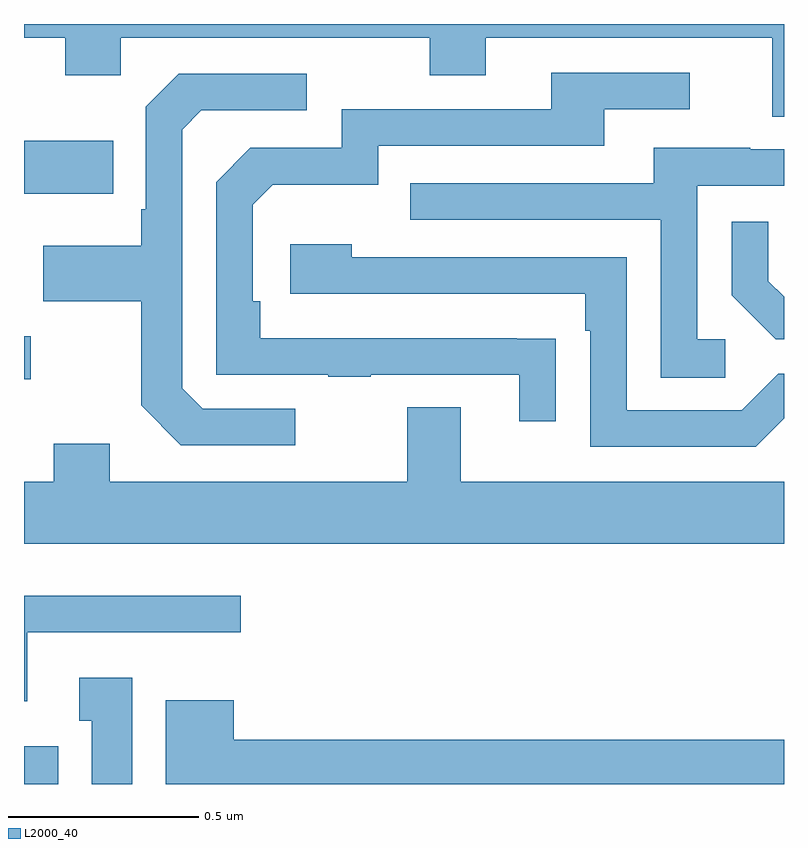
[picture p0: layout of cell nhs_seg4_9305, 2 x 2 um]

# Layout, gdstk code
import gdstk
lib = gdstk.Library(unit=1e-6, precision=1e-09)
def R(c, l, rs):  # rectangles x0, y0, x1, y1
    for r in rs: c.add(gdstk.rectangle(r[:2], r[2:], *l))
def P(c, l, *ps):  # polygons
    for p in ps: c.add(gdstk.Polygon(p, *l))
L2000_40 = (2000, 40)

nhs_seg4_9305 = lib.new_cell('nhs_seg4_9305')
R(nhs_seg4_9305, L2000_40, [(226,750.9,226.09,751), (226,751.965,226.018,752.078), (226,752.453,226.235,752.593)])
P(nhs_seg4_9305, L2000_40, [(228,752.9),(226,752.9),(226,752.864),(226.108,752.864),(226.108,752.765),(226.254,752.765),(226.254,752.864),(227.068,752.864),(227.068,752.765),(227.215,752.765),(227.215,752.864),(227.969,752.864),(227.969,752.656),(228,752.656)],
  [(227.399,752.072),(227.297,752.072),(227.297,752.073),(226.622,752.073),(226.622,752.17),(226.602,752.17),(226.602,752.424),(226.655,752.477),(226.932,752.477),(226.932,752.58),(227.527,752.58),(227.527,752.676),(227.752,752.676),(227.752,752.772),(227.387,752.772),(227.387,752.676),(226.836,752.676),(226.836,752.574),(226.596,752.574),(226.506,752.484),(226.506,751.977),(226.801,751.977),(226.801,751.972),(226.913,751.972),(226.913,751.977),(227.303,751.977),(227.303,751.854),(227.399,751.854)],
  [(226.714,751.887),(226.47,751.887),(226.416,751.941),(226.416,752.622),(226.467,752.673),(226.744,752.673),(226.744,752.769),(226.407,752.769),(226.32,752.682),(226.32,752.413),(226.308,752.413),(226.308,752.317),(226.051,752.317),(226.051,752.17),(226.308,752.17),(226.308,751.897),(226.413,751.791),(226.714,751.791)],
  [(227.845,752.07),(227.772,752.07),(227.772,752.475),(228,752.475),(228,752.571),(227.911,752.571),(227.911,752.575),(227.657,752.575),(227.657,752.481),(227.017,752.481),(227.017,752.385),(227.676,752.385),(227.676,751.969),(227.845,751.969)],
  [(228,752.182),(227.959,752.223),(227.959,752.38),(227.862,752.38),(227.862,752.186),(227.978,752.07),(228,752.07)],
  [(228,751.863),(228,751.98),(227.985,751.98),(227.889,751.884),(227.586,751.884),(227.586,752.286),(226.862,752.286),(226.862,752.32),(226.701,752.32),(226.701,752.19),(227.477,752.19),(227.477,752.093),(227.49,752.093),(227.49,751.788),(227.925,751.788)],
  [(228,751.696),(227.149,751.696),(227.149,751.891),(227.009,751.891),(227.009,751.696),(226.225,751.696),(226.225,751.795),(226.078,751.795),(226.078,751.696),(226,751.696),(226,751.532),(228,751.532)],
  [(226.009,751.299),(226.57,751.299),(226.57,751.396),(226,751.396),(226,751.118),(226.009,751.118)],
  [(226.285,751.18),(226.145,751.18),(226.145,751.067),(226.178,751.067),(226.178,750.9),(226.285,750.9)],
  [(228,751.016),(226.552,751.016),(226.552,751.12),(226.373,751.12),(226.373,750.9),(228,750.9)])

lib.write_gds('nhs_seg4_9305.gds')
